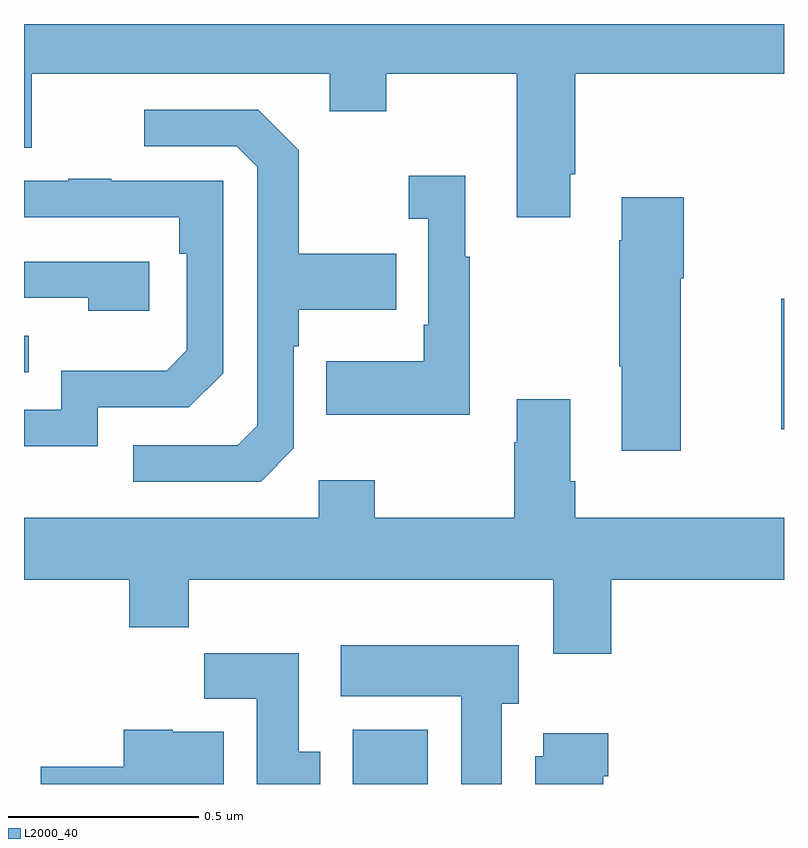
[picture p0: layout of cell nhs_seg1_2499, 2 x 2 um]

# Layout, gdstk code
import gdstk
lib = gdstk.Library(unit=1e-6, precision=1e-09)
def R(c, l, rs):  # rectangles x0, y0, x1, y1
    for r in rs: c.add(gdstk.rectangle(r[:2], r[2:], *l))
def P(c, l, *ps):  # polygons
    for p in ps: c.add(gdstk.Polygon(p, *l))
L2000_40 = (2000, 40)

nhs_seg1_2499 = lib.new_cell('nhs_seg1_2499')
R(nhs_seg1_2499, L2000_40, [(142.865,547.199,143.062,547.342), (143.993,548.132,144,548.476), (142,548.283,142.013,548.379)])
P(nhs_seg1_2499, L2000_40, [(143.437,548.803),(143.45,548.803),(143.45,549.068),(144,549.068),(144,549.199),(142,549.199),(142,548.874),(142.021,548.874),(142.021,549.068),(142.805,549.068),(142.805,548.969),(142.953,548.969),(142.953,549.068),(143.297,549.068),(143.297,548.691),(143.437,548.691)],
  [(142.71,548.082),(142.71,548.351),(142.723,548.351),(142.723,548.447),(142.979,548.447),(142.979,548.595),(142.723,548.595),(142.723,548.867),(142.617,548.973),(142.317,548.973),(142.317,548.877),(142.56,548.877),(142.614,548.823),(142.614,548.142),(142.563,548.091),(142.287,548.091),(142.287,547.995),(142.623,547.995)],
  [(143.173,548.587),(143.161,548.587),(143.161,548.8),(143.013,548.8),(143.013,548.687),(143.064,548.687),(143.064,548.407),(143.052,548.407),(143.052,548.311),(142.795,548.311),(142.795,548.171),(143.173,548.171)],
  [(142.194,548.19),(142.434,548.19),(142.524,548.28),(142.524,548.787),(142.229,548.787),(142.229,548.792),(142.117,548.792),(142.117,548.787),(142,548.787),(142,548.691),(142.408,548.691),(142.408,548.594),(142.428,548.594),(142.428,548.34),(142.375,548.287),(142.098,548.287),(142.098,548.184),(142,548.184),(142,548.088),(142.194,548.088)],
  [(143.728,548.53),(143.736,548.53),(143.736,548.743),(143.573,548.743),(143.573,548.63),(143.566,548.63),(143.566,548.299),(143.573,548.299),(143.573,548.076),(143.728,548.076)],
  [(142.33,548.574),(142,548.574),(142,548.478),(142.169,548.478),(142.169,548.444),(142.33,548.444)],
  [(143.437,547.996),(143.437,548.212),(143.297,548.212),(143.297,548.099),(143.29,548.099),(143.29,547.9),(142.923,547.9),(142.923,547.999),(142.776,547.999),(142.776,547.9),(142,547.9),(142,547.736),(142.277,547.736),(142.277,547.612),(142.433,547.612),(142.433,547.736),(143.393,547.736),(143.393,547.542),(143.546,547.542),(143.546,547.736),(144,547.736),(144,547.9),(143.45,547.9),(143.45,547.996)],
  [(143.257,547.41),(143.302,547.41),(143.302,547.564),(142.833,547.564),(142.833,547.43),(143.15,547.43),(143.15,547.199),(143.257,547.199)],
  [(142.78,547.284),(142.723,547.284),(142.723,547.543),(142.474,547.543),(142.474,547.424),(142.613,547.424),(142.613,547.199),(142.78,547.199)],
  [(142.525,547.336),(142.392,547.336),(142.392,547.342),(142.262,547.342),(142.262,547.244),(142.044,547.244),(142.044,547.199),(142.525,547.199)],
  [(143.524,547.22),(143.537,547.22),(143.537,547.333),(143.366,547.333),(143.366,547.272),(143.345,547.272),(143.345,547.199),(143.524,547.199)])

lib.write_gds('nhs_seg1_2499.gds')
